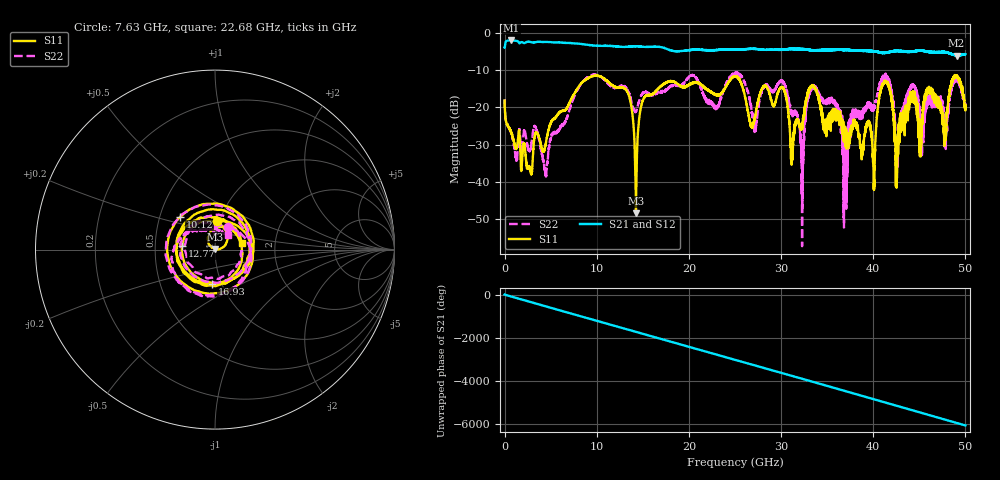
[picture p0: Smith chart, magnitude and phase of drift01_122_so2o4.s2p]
!Created with skrf (http://scikit-rf.org).
# Hz S RI R 50.0
!freq ReS11 ImS11 ReS21 ImS21 ReS12 ImS12 ReS22 ImS22
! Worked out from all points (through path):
!   10001 points, 300 kHz to 50 GHz, reference 50 ohm
!   highest |S21| = -2.00 dB at 710.3 MHz (marker M1); lowest = -6.1 dB at 49.05 GHz (marker M2)
!   group delay of S21, straight-line fit = 336 ps
!   lowest |S11| = -48.5 dB at 14.25 GHz (marker M3), VSWR 1.01, Z = 50.1 + j0.369 ohm
!   |S11| at or under -10 dB: start of sweep to end of sweep
!   |S22| runs from -57.3 to -10.5 dB; largest |S21 - S12| = 0.025
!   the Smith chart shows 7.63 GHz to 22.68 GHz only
!   S11 on the Smith chart (normalised r, x): 7.63 GHz: 0.97, +0.31; 10.12 GHz: 0.64, +0.25; 12.77 GHz: 0.69, +0.03; 16.93 GHz: 0.90, -0.36; 22.68 GHz: 1.35, +0.10
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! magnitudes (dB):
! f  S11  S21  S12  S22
! 300 kHz  -18.2  -4.0  -4.0  -17.8
! 710.3 MHz  -26.6  -2.0  -2.0  -26.7
! 4.445 GHz  -29.9  -2.4  -2.4  -37.8
! 7.63 GHz  -16.1  -2.8  -2.8  -16.7
! 8.335 GHz  -13.5  -2.9  -3.0  -13.5
! 10.12 GHz  -11.5  -3.4  -3.4  -11.4
! 12.77 GHz  -14.7  -3.7  -3.7  -14.4
! 14.25 GHz  -48.5  -3.6  -3.6  -21.2
! 16.67 GHz  -14.9  -3.7  -3.7  -15.8
! 16.93 GHz  -14.4  -3.8  -3.8  -15.8
! 22.68 GHz  -16.2  -4.6  -4.6  -19.2
! 25 GHz  -11.6  -4.5  -4.5  -10.9
! 27.17 GHz  -22.5  -4.3  -4.3  -26.0
! 30.2 GHz  -14.9  -4.5  -4.5  -13.3
! 32.27 GHz  -25.5  -4.3  -4.3  -43.6
! 33.34 GHz  -14.1  -4.6  -4.6  -14.7
! 36.99 GHz  -30.5  -4.5  -4.4  -39.5
! 40.06 GHz  -40.6  -4.9  -4.9  -20.1
! 41.67 GHz  -14.0  -5.1  -5.1  -12.8
! 42.58 GHz  -35.2  -4.8  -4.8  -32.4
! 49.05 GHz  -11.8  -6.1  -6.0  -12.6
! 50 GHz  -19.4  -5.7  -5.8  -19.5
